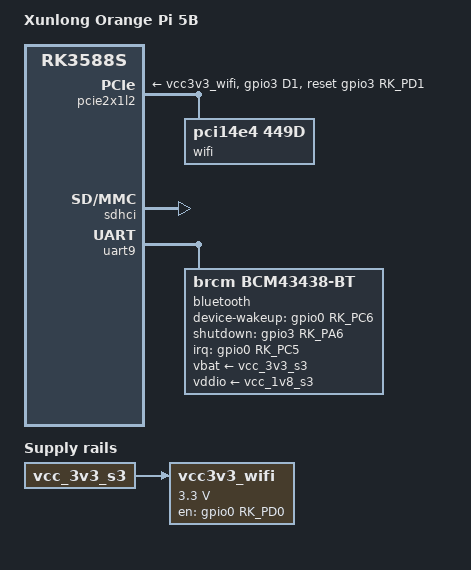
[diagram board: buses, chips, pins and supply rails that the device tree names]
// SPDX-License-Identifier: (GPL-2.0+ OR MIT)

/dts-v1/;

#include "rk3588s-orangepi-5-5b.dtsi"

/ {
	model = "Xunlong Orange Pi 5B";
	compatible = "xunlong,orangepi-5b", "rockchip,rk3588s";

	aliases {
		mmc0 = &sdhci;
		mmc1 = &sdmmc;
	};

	vcc3v3_wifi: regulator-vcc3v3-wifi {
		compatible = "regulator-fixed";
		enable-active-high;
		gpio = <&gpio0 RK_PD0 GPIO_ACTIVE_HIGH>;
		pinctrl-names = "default";
		pinctrl-0 = <&wifi_reg_on>;
		regulator-name = "vcc3v3_wifi";
		regulator-min-microvolt = <3300000>;
		regulator-max-microvolt = <3300000>;
		startup-delay-us = <50000>;
		vin-supply = <&vcc_3v3_s3>;
	};
};

&pcie2x1l2 {
	pinctrl-names = "default";
	pinctrl-0 = <&pcie2_2_rst>;
	reset-gpios = <&gpio3 RK_PD1 GPIO_ACTIVE_HIGH>;
	vpcie3v3-supply = <&vcc3v3_wifi>;
	status = "okay";

	pcie@0,0 {
		reg = <0x400000 0 0 0 0>;
		#address-cells = <3>;
		#size-cells = <2>;
		ranges;
		device_type = "pci";
		bus-range = <0x40 0x4f>;

		wifi: wifi@0,0 {
			compatible = "pci14e4,449d";
			reg = <0x410000 0 0 0 0>;
			clocks = <&hym8563>;
			clock-names = "lpo";
		};
	};
};

&pinctrl {
	bluetooth {
		bt_reset_pin: bt-reset-pin {
			rockchip,pins = <3 RK_PA6 RK_FUNC_GPIO &pcfg_pull_none>;
		};

		bt_wake_pin: bt-wake-pin {
			rockchip,pins = <0 RK_PC6 RK_FUNC_GPIO &pcfg_pull_down>;
		};

		bt_wake_host_irq: bt-wake-host-irq {
			rockchip,pins = <0 RK_PC5 RK_FUNC_GPIO &pcfg_pull_down>;
		};
	};

	pcie {
		pcie2_2_rst: pcie2-2-rst {
			rockchip,pins = <3 RK_PD1 RK_FUNC_GPIO &pcfg_pull_none>;
		};
	};

	wlan {
		wifi_reg_on: wifi-reg-on {
			rockchip,pins = <0 RK_PD0 RK_FUNC_GPIO &pcfg_pull_none>;
		};
	};
};

&sdhci {
	status = "okay";
};

&uart9 {
	pinctrl-names = "default";
	pinctrl-0 = <&uart9m2_xfer &uart9m2_ctsn &uart9m2_rtsn>;
	uart-has-rtscts;
	status = "okay";

	bluetooth {
		compatible = "brcm,bcm43438-bt";
		clocks = <&hym8563>;
		clock-names = "lpo";
		device-wakeup-gpios = <&gpio0 RK_PC6 GPIO_ACTIVE_HIGH>;
		interrupt-names = "host-wakeup";
		interrupt-parent = <&gpio0>;
		interrupts = <RK_PC5 IRQ_TYPE_LEVEL_HIGH>;
		max-speed = <1500000>;
		pinctrl-names = "default";
		pinctrl-0 = <&bt_wake_host_irq &bt_wake_pin &bt_reset_pin>;
		shutdown-gpios = <&gpio3 RK_PA6 GPIO_ACTIVE_HIGH>;
		vbat-supply = <&vcc_3v3_s3>;
		vddio-supply = <&vcc_1v8_s3>;
	};
};
